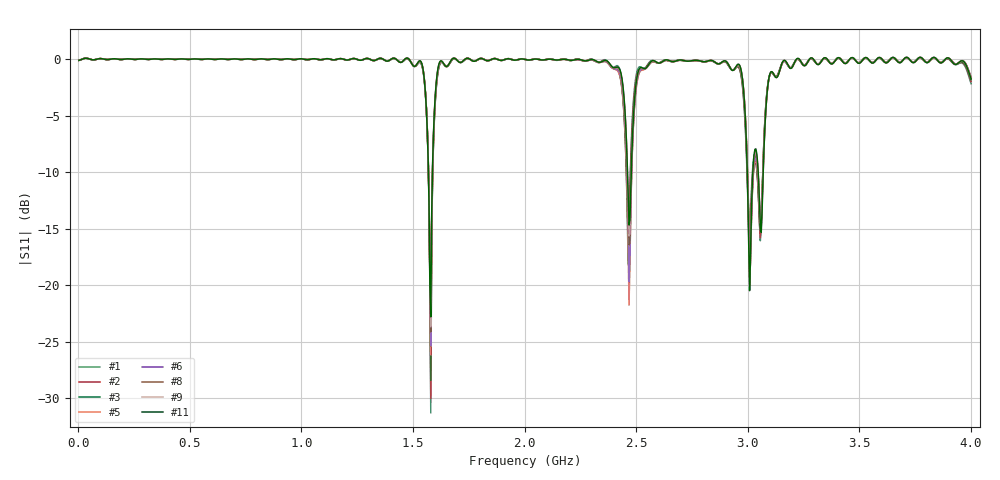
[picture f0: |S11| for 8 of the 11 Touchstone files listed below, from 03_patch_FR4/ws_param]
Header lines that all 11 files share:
! TOUCHSTONE file generated by CST MICROWAVE STUDIO
! Project name: AppElm_antenne_patch_FR4.cst
! Header version: 2018
! Port assignment regex: !\s*Touchstone port\s*([0-9]+)\s*=\s*(CST MWS port|CST DS port)\s*([0-9]+|Zmin|Zmax)\s*\(\"(.*)\"\)(\s*mode\s*([0-9]+))?.*
! Touchstone port assignment:
! Touchstone port 1 = CST MWS port 1 ("")
# GHz S MA R 50
Fixed: L = 45, W = 58.5, e = 0.035, h = 1.6, lambda = 0.190476, ls = 120, w0 = 2.54, w1 = 0.847, y0 = 18, y1 = 23.8
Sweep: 4 MHz to 4 GHz
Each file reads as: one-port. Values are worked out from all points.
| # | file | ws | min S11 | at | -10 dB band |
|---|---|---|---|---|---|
| 1 | AppElm_antenne_patch_FR4_1.s1p | 90 | -31.3 dB | 1.58 GHz | 24.17 MHz wide |
| 2 | AppElm_antenne_patch_FR4_2.s1p | 96 | -30.0 dB | 1.58 GHz | 25.27 MHz wide |
| 3 | AppElm_antenne_patch_FR4_3.s1p | 102 | -28.4 dB | 1.58 GHz | 26.75 MHz wide |
| 4 | AppElm_antenne_patch_FR4_4.s1p | 108 | -27.2 dB | 1.58 GHz | 27.4 MHz wide |
| 5 | AppElm_antenne_patch_FR4_5.s1p | 114 | -26.2 dB | 1.58 GHz | 27.34 MHz wide |
| 6 | AppElm_antenne_patch_FR4_6.s1p | 120 | -25.4 dB | 1.58 GHz | 26.92 MHz wide |
| 7 | AppElm_antenne_patch_FR4_7.s1p | 126 | -24.7 dB | 1.58 GHz | 26.57 MHz wide |
| 8 | AppElm_antenne_patch_FR4_8.s1p | 132 | -24.1 dB | 1.58 GHz | 25.95 MHz wide |
| 9 | AppElm_antenne_patch_FR4_9.s1p | 138 | -23.7 dB | 1.58 GHz | 25.66 MHz wide |
| 10 | AppElm_antenne_patch_FR4_10.s1p | 144 | -23.2 dB | 1.58 GHz | 25.37 MHz wide |
| 11 | AppElm_antenne_patch_FR4_11.s1p | 150 | -22.8 dB | 1.58 GHz | 25.18 MHz wide |
